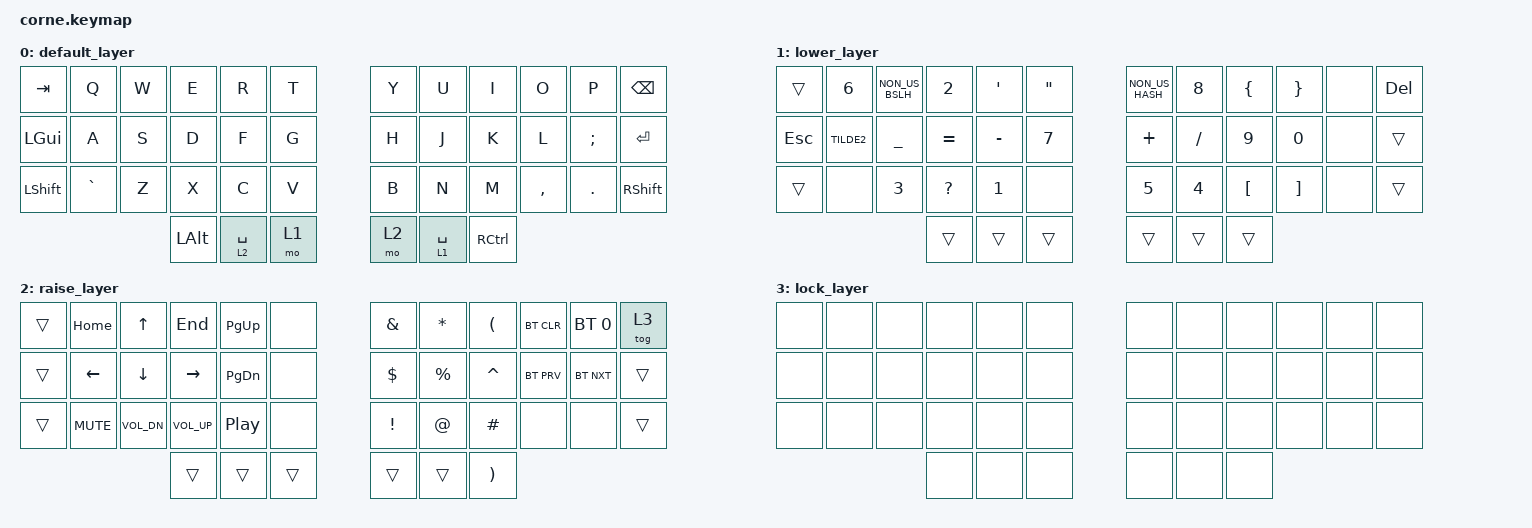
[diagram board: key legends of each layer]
/*
 * Copyright (c) 2020 The ZMK Contributors
 *
 * SPDX-License-Identifier: MIT
 */

#include <behaviors.dtsi>
#include <dt-bindings/zmk/keys.h>
#include <dt-bindings/zmk/bt.h>

/ {
        keymap {
                compatible = "zmk,keymap";

                default_layer {
// -----------------------------------------------------------------------------------------
// |  TAB |  Q  |  W  |  E  |  R  |  T  |   |  Y  |  U   |  I  |  O  |  P  | BKSP |
// |  GUI |  A  |  S  |  D  |  F  |  G  |   |  H  |  J   |  K  |  L  |  ;  | ENT  |
// | SHFT |  \  |  Z  |  X  |  C  |  V  |   |  B  |  N   |  M  |  ,  |  .  | SHFT |
//                    | ALT | LWR | SPC |   | ENT | RSE  | CTL |
                        bindings = <
   &kp TAB   &kp Q     &kp W &kp E &kp R &kp T   &kp Y &kp U  &kp I  &kp O     &kp P     &kp BSPC
   &kp LGUI  &kp A     &kp S &kp D &kp F &kp G   &kp H &kp J  &kp K  &kp L     &kp SEMI  &kp RET
   &kp LSHFT &kp GRAVE &kp Z &kp X &kp C &kp V   &kp B &kp N  &kp M  &kp COMMA &kp DOT   &kp RSHFT
                          &kp LALT &lt 2 SPACE &mo 1   &mo 2 &lt 1 SPACE &kp RCTRL
                        >;
                };

                lower_layer {
// -----------------------------------------------------------------------------------------
// |      |  ^  |  `  |  "  |  '  |  @  |   |  #  |  *  |  {  |  }  |     | DEL  |
// | ESC  |  ~  |  _  |  =  |  -  |  &  |   |  +  |  /  |  (  |  )  |     |      |
// |      |     |  £  |  ?  |  !  |     |   |  %  |  $  |  [  |  ]  |     |      |
//                    |     |     |     |   |     |     |     |
                        bindings = <
   &trans  &kp N6     &kp NON_US_BSLH &kp N2     &kp APOS  &kp DQT   &kp NON_US_HASH &kp N8    &kp LBRC  &kp RBRC  &none &kp DEL
   &kp ESC &kp TILDE2 &kp UNDER       &kp EQUAL  &kp MINUS &kp N7    &kp PLUS        &kp SLASH &kp N9    &kp N0    &none &trans
   &trans  &none      &kp N3          &kp QMARK  &kp N1    &none     &kp N5          &kp N4    &kp LBKT  &kp RBKT  &none &trans
                                          &trans &trans &trans &trans &trans &trans
                        >;
                };

                raise_layer {
// -----------------------------------------------------------------------------------------
// |      |HOME | UP  | END |PGUP |     |   |  7  |  8  |  9  |     |     | DEL  |
// | ESC  |LEFT |DOWN |RIGHT|PGDN |     |   |  4  |  5  |  6  |     |     |      |
// |      |MUTE |VOL- |VOL+ |PLAY |     |   |  1  |  2  |  3  |     |     |      |
//                    |     |     |     |   |     |     |  0  |
                        bindings = <
   &trans &kp HOME   &kp UP       &kp END      &kp PG_UP &none   &kp AMPS &kp STAR  &kp LPAR  &bt BT_CLR &bt BT_SEL 0 &tog 3
   &trans &kp LEFT   &kp DOWN     &kp RIGHT    &kp PG_DN &none   &kp DLLR &kp PRCNT &kp CARET &bt BT_PRV &bt BT_NXT   &trans
   &trans &kp K_MUTE &kp C_VOL_DN &kp C_VOL_UP &kp C_PP  &none   &kp EXCL &kp AT    &kp POUND &none      &none        &trans
                                            &trans &trans &trans &trans &trans &kp RPAR
                        >;
                };
                
                lock_layer {
                        bindings = <
   &none &none &none &none &none &none &none &none &none &none &none &none
   &none &none &none &none &none &none &none &none &none &none &none &none
   &none &none &none &none &none &none &none &none &none &none &none &none
                     &none &none &none &none &none &none
                        >;
                };
        };

};
